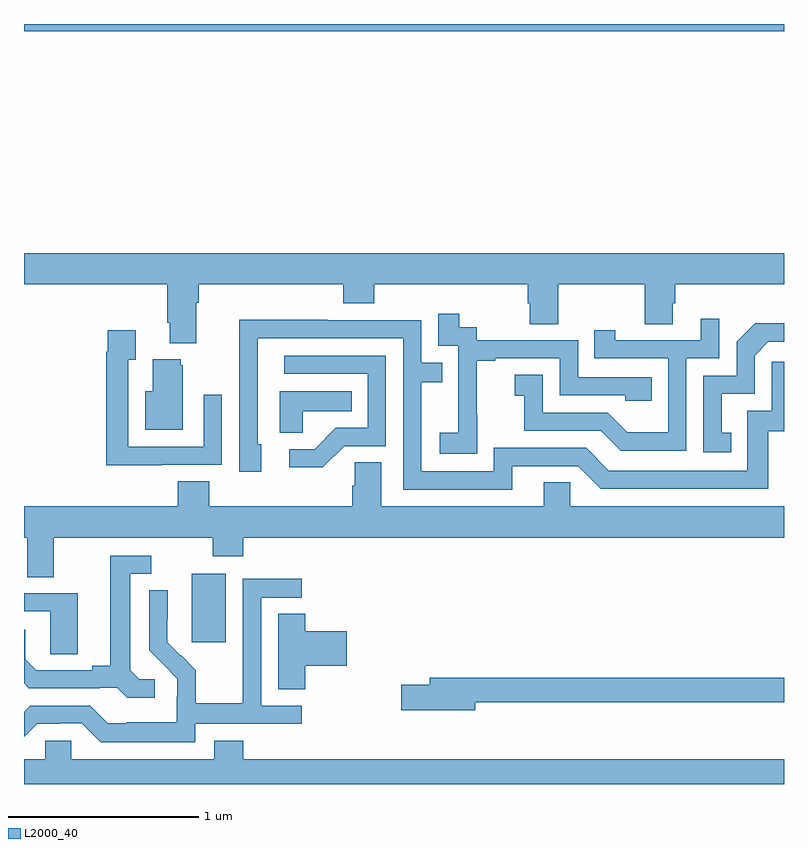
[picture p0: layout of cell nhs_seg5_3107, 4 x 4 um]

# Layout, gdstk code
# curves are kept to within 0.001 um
import gdstk
lib = gdstk.Library(unit=1e-6, precision=1e-09)
def R(c, l, rs):  # rectangles x0, y0, x1, y1
    for r in rs: c.add(gdstk.rectangle(r[:2], r[2:], *l))
def P(c, l, *ps):  # polygons
    for p in ps: c.add(gdstk.Polygon(p, *l))
L2000_40 = (2000, 40)

nhs_seg5_3107 = lib.new_cell('nhs_seg5_3107')
R(nhs_seg5_3107, L2000_40, [(291.884,853.545,292.063,853.906), (291,856.76,295,856.799)])
P(nhs_seg5_3107, L2000_40, [(291.907,855.332),(291.92,855.332),(291.92,855.428),(292.679,855.428),(292.679,855.329),(292.844,855.329),(292.844,855.428),(293.651,855.428),(293.651,855.33),(293.663,855.33),(293.663,855.22),(293.811,855.22),(293.811,855.428),(294.268,855.428),(294.268,855.22),(294.415,855.22),(294.415,855.33),(294.428,855.33),(294.428,855.428),(295,855.428),(295,855.592),(291,855.592),(291,855.428),(291.755,855.428),(291.755,855.226),(291.767,855.226),(291.767,855.119),(291.907,855.119)],
  [(293.385,854.743),(293.384,854.743),(293.384,855.027),(293.479,855.027),(293.479,855.039),(293.82,855.039),(293.82,854.844),(294.165,854.844),(294.165,854.817),(294.305,854.817),(294.305,854.94),(293.916,854.94),(293.916,855.135),(293.382,855.135),(293.382,855.204),(293.29,855.204),(293.29,855.274),(293.181,855.274),(293.181,855.105),(293.286,855.105),(293.286,854.876),(293.285,854.876),(293.285,854.647),(293.187,854.647),(293.187,854.537),(293.385,854.537)],
  [(294.486,855.039),(294.66,855.039),(294.66,855.247),(294.563,855.247),(294.563,855.135),(294.112,855.135),(294.112,855.187),(294.001,855.187),(294.001,855.039),(294.39,855.039),(294.39,854.65),(294.176,854.65),(294.072,854.754),(293.73,854.754),(293.73,854.953),(293.583,854.953),(293.583,854.843),(293.632,854.843),(293.632,854.658),(294.035,854.658),(294.14,854.553),(294.486,854.553)],
  [(293.569,854.472),(293.916,854.472),(294.036,854.352),(294.916,854.352),(294.916,854.655),(295,854.655),(295,855.022),(294.936,855.022),(294.936,854.763),(294.807,854.763),(294.807,854.448),(294.078,854.448),(293.958,854.568),(293.472,854.568),(293.472,854.445),(293.091,854.445),(293.091,854.914),(293.201,854.914),(293.201,855.015),(293.091,855.015),(293.091,855.24),(292.595,855.24),(292.595,855.242),(292.132,855.242),(292.132,854.935),(292.134,854.935),(292.134,854.442),(292.249,854.442),(292.249,854.586),(292.23,854.586),(292.23,855.144),(292.995,855.144),(292.995,854.349),(293.569,854.349)],
  [(294.722,854.649),(294.673,854.649),(294.673,854.853),(294.846,854.853),(294.846,855.054),(294.918,855.126),(295,855.126),(295,855.224),(294.848,855.224),(294.75,855.126),(294.75,854.949),(294.576,854.949),(294.576,854.544),(294.722,854.544)],
  [(291.725,854.478),(292.041,854.478),(292.041,854.848),(291.945,854.848),(291.945,854.574),(291.549,854.574),(291.549,855.031),(291.589,855.031),(291.589,855.187),(291.441,855.187),(291.441,855.074),(291.433,855.074),(291.433,854.477),(291.725,854.477)],
  [(292.686,854.577),(292.905,854.577),(292.905,855.054),(292.371,855.054),(292.371,854.958),(292.809,854.958),(292.809,854.673),(292.64,854.673),(292.529,854.562),(292.395,854.562),(292.395,854.465),(292.573,854.465)],
  [(291.835,855.003),(291.824,855.003),(291.824,855.034),(291.677,855.034),(291.677,854.866),(291.638,854.866),(291.638,854.663),(291.835,854.663)],
  [(292.467,854.762),(292.724,854.762),(292.724,854.866),(292.346,854.866),(292.346,854.647),(292.467,854.647)],
  [(291.157,854.096),(291.994,854.096),(291.994,853.997),(292.154,853.997),(292.154,854.096),(295,854.096),(295,854.26),(293.874,854.26),(293.874,854.387),(293.735,854.387),(293.735,854.26),(292.879,854.26),(292.879,854.492),(292.74,854.492),(292.74,854.369),(292.727,854.369),(292.727,854.26),(291.974,854.26),(291.974,854.393),(291.809,854.393),(291.809,854.26),(291,854.26),(291,854.096),(291.017,854.096),(291.017,853.888),(291.157,853.888)],
  [(291.688,853.35),(291.606,853.35),(291.559,853.397),(291.559,853.905),(291.67,853.905),(291.67,854.001),(291.455,854.001),(291.455,853.421),(291.359,853.421),(291.359,853.398),(291.064,853.398),(291.007,853.455),(291.007,853.612),(291,853.612),(291,853.328),(291.026,853.302),(291.398,853.302),(291.398,853.305),(291.492,853.305),(291.544,853.253),(291.688,853.253)],
  [(291.9,853.116),(292.462,853.116),(292.462,853.212),(292.248,853.212),(292.248,853.779),(292.462,853.779),(292.462,853.878),(292.152,853.878),(292.152,853.448),(292.15,853.448),(292.15,853.225),(291.905,853.225),(291.905,853.399),(291.828,853.476),(291.825,853.473),(291.755,853.544),(291.756,853.82),(291.66,853.82),(291.66,853.502),(291.806,853.354),(291.806,853.257),(291.804,853.257),(291.804,853.123),(291.541,853.123),(291.541,853.119),(291.441,853.119),(291.348,853.212),(291.033,853.212),(291,853.179),(291,853.047),(291.069,853.116),(291.188,853.116),(291.188,853.119),(291.303,853.119),(291.403,853.019),(291.9,853.019)],
  [(291.283,853.803),(291,853.803),(291,853.707),(291.138,853.707),(291.138,853.483),(291.283,853.483)],
  [(292.481,853.421),(292.699,853.421),(292.699,853.604),(292.481,853.604),(292.481,853.694),(292.337,853.694),(292.337,853.297),(292.481,853.297)],
  [(293.374,853.23),(295,853.23),(295,853.358),(293.135,853.358),(293.135,853.322),(292.986,853.322),(292.986,853.187),(293.374,853.187)],
  [(295,852.928),(292.154,852.928),(292.154,853.027),(292.001,853.027),(292.001,852.928),(291.249,852.928),(291.249,853.026),(291.111,853.026),(291.111,852.928),(291,852.928),(291,852.799),(295,852.799)])

lib.write_gds('nhs_seg5_3107.gds')
